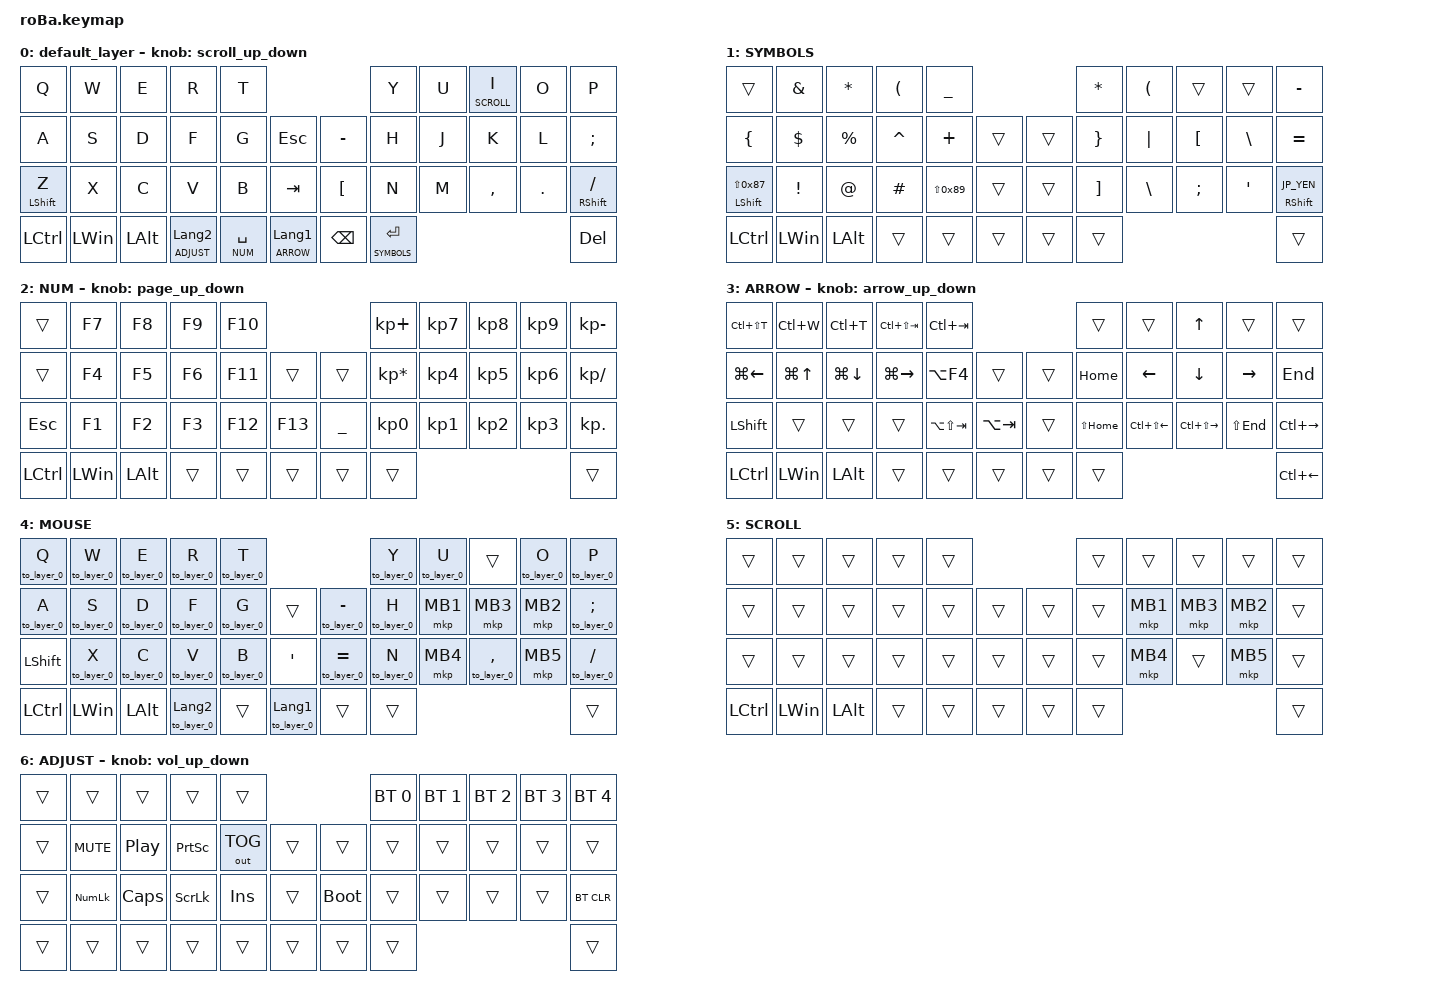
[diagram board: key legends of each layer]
#include <behaviors.dtsi>
#include <dt-bindings/zmk/bt.h>
#include <dt-bindings/zmk/keys.h>
#include <dt-bindings/zmk/pointing.h>
#include <dt-bindings/zmk/outputs.h>

// =================================================================
// レイヤー定義・定数
// =================================================================
#define SYMBOLS 1
#define NUM     2
#define ARROW   3
#define MOUSE   4
#define SCROLL  5
#define ADJUST  6
#define ZMK_POINTING_DEFAULT_SCRL_VAL 100

// 日本語キーボード用変換定義
#define JP_DQUOTE       AT                // "
#define JP_AMPERSAND    CARET             // &
#define JP_QUOTE        AMPERSAND         // '
#define JP_EQUAL        UNDER             // =
#define JP_CARET        EQUAL             // ^
#define JP_YEN          0x89              // ¥
#define JP_PLUS         COLON             // +
#define JP_TILDE        PLUS              // ~
#define JP_PIPE         LS(0x89)          // |
#define JP_AT           LEFT_BRACKET      // @
#define JP_COLON        SINGLE_QUOTE      // :
#define JP_ASTERISK     DOUBLE_QUOTES     // *
#define JP_BACKQUOTE    LEFT_BRACE        // `
#define JP_UNDERSCORE   LS(0x87)          // _
#define JP_LBRACKET     RIGHT_BRACKET     // [
#define JP_RBRACKET     BACKSLASH         // ]
#define JP_LPAREN       ASTERISK          // (
#define JP_RPAREN       LEFT_PARENTHESIS  // )
#define JP_LBRACE       RIGHT_BRACE       // {
#define JP_RBRACE       PIPE              // }
#define JP_KANA         LANGUAGE_1        // かな
#define JP_EISU         LANGUAGE_2        // 英数
#define JP_HANZEN       GRAVE             // 半角/全角

// =================================================================
// Behaviors / グローバル設定
// =================================================================
&mt {
    flavor = "tap-preferred";
    quick-tap-ms = <0>;
    tapping-term-ms = <220>;
};

&lt {
    flavor = "hold-preferred";
    tapping-term-ms = <200>; // 150から200に延長して判定を緩和
};

/ {
    combos {
        compatible = "zmk,combos";
        tab              { bindings = <&kp TAB>;           key-positions = <11 12>; };
        shift_tab        { bindings = <&kp LS(TAB)>;       key-positions = <12 13>; };
        double_quotation { bindings = <&kp JP_DQUOTE>;     key-positions = <20 21>; };
        underscore_combo { bindings = <&kp JP_UNDERSCORE>; key-positions = <22 23>; };
        lbrace_combo     { bindings = <&kp JP_LBRACE>;     key-positions = <17 18>; };
        rbrace_combo     { bindings = <&kp JP_RBRACE>;     key-positions = <18 19>; };
        lbracket_combo   { bindings = <&kp JP_LBRACKET>;   key-positions = <29 30>; };
        rbracket_combo   { bindings = <&kp JP_RBRACKET>;   key-positions = <30 31>; };
    };

    macros {
        to_layer_0: to_layer_0 {
            compatible = "zmk,behavior-macro-one-param";
            #binding-cells = <1>;
            bindings = <&to 0 &macro_param_1to1 &kp MACRO_PLACEHOLDER>;
            label = "TO_LAYER_0";
        };
    };

    behaviors {
        lt_to_layer_0: lt_to_layer_0 {
            compatible = "zmk,behavior-hold-tap";
            label = "LAYER_TAP_TO_0";
            bindings = <&mo>, <&to_layer_0>;
            #binding-cells = <2>;
            tapping-term-ms = <200>;
        };

        scroll_up_down: behavior_sensor_rotate_mouse_wheel_up_down {
            compatible = "zmk,behavior-sensor-rotate";
            #sensor-binding-cells = <0>;
            bindings = <&msc SCRL_DOWN>, <&msc SCRL_UP>;
            tap-ms = <20>;
        };

        vol_up_down: behavior_sensor_rotate_volume {
            compatible = "zmk,behavior-sensor-rotate";
            #sensor-binding-cells = <0>;
            bindings = <&kp C_VOL_DN>, <&kp C_VOL_UP>;
            tap-ms = <20>;
        };

        arrow_up_down: behavior_sensor_rotate_arrow_up_down {
            compatible = "zmk,behavior-sensor-rotate";
            #sensor-binding-cells = <0>;
            bindings = <&kp DOWN_ARROW>, <&kp UP_ARROW>;
            tap-ms = <20>;
        };

        page_up_down: behavior_sensor_rotate_page_up_down {
            compatible = "zmk,behavior-sensor-rotate";
            #sensor-binding-cells = <0>;
            bindings = <&kp PAGE_DOWN>, <&kp PAGE_UP>;
            tap-ms = <20>;
        };
    };

// =================================================================
// キーマップ本体 (全レイヤー 43キー)
// =================================================================
    keymap {
        compatible = "zmk,keymap";

        default_layer {
            bindings = <
&kp Q             &kp W         &kp E         &kp R                 &kp T                                                          &kp Y          &kp U          &lt SCROLL I   &kp O          &kp P
&kp A             &kp S         &kp D         &kp F                 &kp G          &kp ESCAPE                  &kp MINUS           &kp H          &kp J          &kp K          &kp L          &kp SEMICOLON
&mt LEFT_SHIFT Z  &kp X         &kp C         &kp V                 &kp B          &kp TAB                     &kp JP_AT           &kp N          &kp M          &kp COMMA      &kp PERIOD     &mt RIGHT_SHIFT SLASH
&kp LCTRL         &kp LEFT_WIN  &kp LEFT_ALT  &lt ADJUST LANGUAGE_2 &lt NUM SPACE  &lt ARROW LANGUAGE_1        &kp BACKSPACE       &lt SYMBOLS ENTER                                           &kp DEL
            >;
            sensor-bindings = <&scroll_up_down>;
        };

        SYMBOLS {
            bindings = <
&trans                    &kp JP_QUOTE     &kp JP_LPAREN  &kp JP_RPAREN     &kp JP_EQUAL                                           &kp JP_LPAREN  &kp JP_RPAREN  &trans         &trans         &kp MINUS
&kp JP_BACKQUOTE          &kp DOLLAR       &kp PERCENT    &kp JP_AMPERSAND  &kp JP_TILDE   &trans              &trans              &kp JP_LBRACE  &kp JP_RBRACE  &kp JP_AT      &kp BACKSLASH  &kp JP_CARET
&mt LSHIFT JP_UNDERSCORE  &kp EXCLAMATION  &kp JP_DQUOTE  &kp HASH          &kp JP_PIPE    &trans              &trans              &kp JP_LBRACKET &kp JP_RBRACKET &kp SEMICOLON  &kp JP_COLON   &mt RSHIFT JP_YEN
&kp LCTRL                 &kp LEFT_WIN     &kp LEFT_ALT   &trans            &trans         &trans              &trans              &trans                                                      &trans
            >;
        };

        NUM {
            bindings = <
&trans      &kp F7        &kp F8        &kp F9  &kp F10                                                    &kp KP_PLUS    &kp KP_N7      &kp KP_N8      &kp KP_N9      &kp KP_MINUS
&trans      &kp F4        &kp F5        &kp F6  &kp F11     &trans                  &trans                 &kp KP_ASTERISK &kp KP_N4      &kp KP_N5      &kp KP_N6      &kp KP_SLASH
&kp ESCAPE  &kp F1        &kp F2        &kp F3  &kp F12     &kp F13                 &kp JP_EQUAL           &kp KP_N0      &kp KP_N1      &kp KP_N2      &kp KP_N3      &kp KP_DOT
&kp LCTRL   &kp LEFT_WIN  &kp LEFT_ALT  &trans  &trans      &trans                  &trans                 &trans                                                      &trans
            >;
            sensor-bindings = <&page_up_down>;
        };

        ARROW {
            bindings = <
&kp LC(LS(T))       &kp LC(W)    &kp LC(T)      &kp LC(LS(TAB))      &kp LC(TAB)                                           &trans         &trans         &kp UP_ARROW   &trans         &trans
&kp LG(LEFT_ARROW)  &kp LG(UP)   &kp LG(DOWN)   &kp LG(RIGHT_ARROW)  &kp LA(F4)   &trans               &trans              &kp HOME       &kp LEFT_ARROW &kp DOWN_ARROW &kp RIGHT_ARROW &kp END
&kp LSHIFT          &trans       &trans         &trans               &kp LA(LS(TAB))      &kp LA(TAB)      &trans              &kp LS(HOME)   &kp LC(LS(LEFT)) &kp LC(LS(RIGHT)) &kp LS(END)    &kp LC(RIGHT_ARROW)
&kp LCTRL           &kp LEFT_WIN &kp LEFT_ALT   &trans               &trans       &trans               &trans              &trans                                                      &kp LC(LEFT_ARROW)
            >;
            sensor-bindings = <&arrow_up_down>; 
        };

        MOUSE {
            bindings = <
&to_layer_0 Q  &to_layer_0 W  &to_layer_0 E  &to_layer_0 R          &to_layer_0 T                                              &to_layer_0 Y  &to_layer_0 U  &trans         &to_layer_0 O  &to_layer_0 P
&to_layer_0 A  &to_layer_0 S  &to_layer_0 D  &to_layer_0 F          &to_layer_0 G  &trans              &to_layer_0 MINUS       &to_layer_0 H  &mkp MB1       &mkp MB3       &mkp MB2       &to_layer_0 SEMICOLON
&kp LSHIFT     &to_layer_0 X  &to_layer_0 C  &to_layer_0 V          &to_layer_0 B  &kp SQT             &to_layer_0 EQUAL       &to_layer_0 N  &mkp MB4       &to_layer_0 COMMA &mkp MB5       &to_layer_0 SLASH
&kp LCTRL      &kp LEFT_WIN   &kp LEFT_ALT   &to_layer_0 LANGUAGE_2 &trans         &to_layer_0 LANGUAGE_1 &trans               &trans                                                      &trans
            >;
        };

        SCROLL {
            bindings = <
&trans      &trans        &trans        &trans  &trans                                                     &trans         &trans         &trans         &trans         &trans
&trans      &trans        &trans        &trans  &trans      &trans                  &trans                 &trans         &mkp MB1       &mkp MB3       &mkp MB2       &trans
&trans      &trans        &trans        &trans  &trans      &trans                  &trans                 &trans         &mkp MB4       &trans         &mkp MB5       &trans
&kp LCTRL   &kp LEFT_WIN  &kp LEFT_ALT  &trans  &trans      &trans                  &trans                 &trans                                                      &trans
            >;
        };

        ADJUST {
            bindings = <
&trans  &trans      &trans    &trans    &trans                                          &bt BT_SEL 0   &bt BT_SEL 1   &bt BT_SEL 2   &bt BT_SEL 3   &bt BT_SEL 4
&trans  &kp K_MUTE  &kp C_PP  &kp PSCRN &out OUT_TOG  &trans            &trans          &trans         &trans         &trans         &trans         &trans
&trans  &kp KP_NUM  &kp CAPS  &kp SLCK  &kp INS       &trans            &bootloader     &trans         &trans         &trans         &trans         &bt BT_CLR
&trans  &trans      &trans    &trans    &trans        &trans            &trans          &trans                                                      &trans
            >;
            sensor-bindings = <&vol_up_down>;
        };
    };
};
